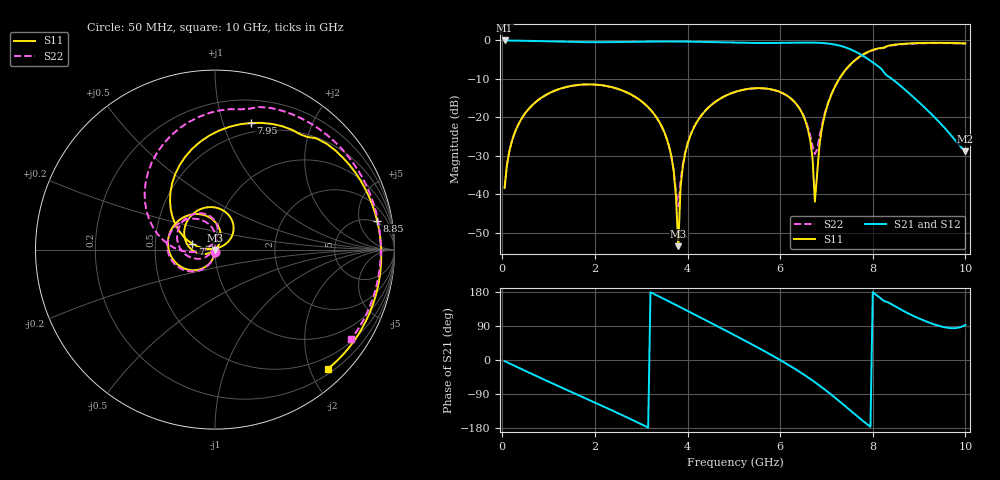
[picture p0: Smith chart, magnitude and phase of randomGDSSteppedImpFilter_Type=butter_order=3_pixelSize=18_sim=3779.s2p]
! freq	dB(S11)	phase(S11)	dB(S12)	phase(S12)
!  dB(S21)	phase(S21)	dB(S22)	phase(S22)
!S-par simulation data
#  GHz  S  DB  R 50
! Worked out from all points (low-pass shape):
!   200 points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, 50 MHz to 10 GHz, reference 50 ohm
!   highest |S21| = -0.01 dB at 50 MHz (marker M1); lowest = -28.8 dB at 10 GHz (marker M2)
!   |S21| within 3 dB of the highest: start of sweep to 7.642 GHz
!   lowest |S11| = -53.5 dB at 3.8 GHz (marker M3), VSWR 1.00, Z = 49.9 - j0.185 ohm
!   |S11| at or under -10 dB: start of sweep to 7.277 GHz
!   |S22| runs from -43.1 to -0.7 dB; largest |S21 - S12| = 0
!   S11 on the Smith chart (normalised r, x): 50 MHz: 1.00, -0.02; 7 GHz: 0.77, +0.05; 7.95 GHz: 0.41, +1.24; 8.85 GHz: 4, +9; 10 GHz: 0.28, -2.30
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0.05  -38.36 -92.3  -0.01 -3.0  -0.01 -3.0  -38.36 -92.1
0.2  -26.49 -102.1  -0.03 -11.7  -0.03 -11.7  -26.49 -101.3
0.5  -18.85 -120.4  -0.10 -28.9  -0.10 -28.9  -18.85 -118.3
1.75  -11.46 166.8  -0.44 -98.6  -0.44 -98.6  -11.47 174.7
2.7  -13.57 111.1  -0.38 -151.8  -0.38 -151.8  -13.59 124.6
3.4  -21.39 67.5  -0.28 166.7  -0.28 166.7  -21.45 88.2
3.7  -33.79 47.7  -0.27 148.3  -0.27 148.3  -33.73 84.7
3.8  -53.49 -118.9  -0.28 142.1  -0.28 142.1  -43.14 171.1
3.85  -38.10 -140.6  -0.28 139.0  -0.28 139.0  -36.59 -148.1
4.05  -25.12 -154.5  -0.31 126.5  -0.31 126.5  -24.93 -140.2
5.05  -13.30 138.4  -0.59 63.3  -0.59 63.3  -13.30 166.1
6.25  -15.28 53.7  -0.60 -18.2  -0.60 -18.2  -15.31 93.4
6.55  -21.10 31.4  -0.56 -41.7  -0.56 -41.7  -20.81 80.8
6.7  -30.75 25.8  -0.57 -54.2  -0.57 -54.2  -27.49 98.8
6.75  -41.91 55.7  -0.58 -58.5  -0.58 -58.5  -29.55 126.3
6.85  -27.07 175.2  -0.63 -67.4  -0.63 -67.4  -25.03 178.0
7  -17.72 165.8  -0.76 -81.3  -0.76 -81.3  -17.46 -173.9
7.5  -6.44 117.6  -2.21 -131.6  -2.21 -131.6  -6.52 145.7
7.95  -2.70 74.3  -5.27 -176.3  -5.27 -176.3  -2.79 101.7
8.35  -1.34 43.5  -9.46 150.9  -9.46 150.9  -1.43 68.5
8.85  -0.75 10.2  -14.45 117.9  -14.45 117.9  -0.83 32.0
10  -0.78 -46.5  -28.78 92.6  -28.78 92.6  -0.84 -33.2
